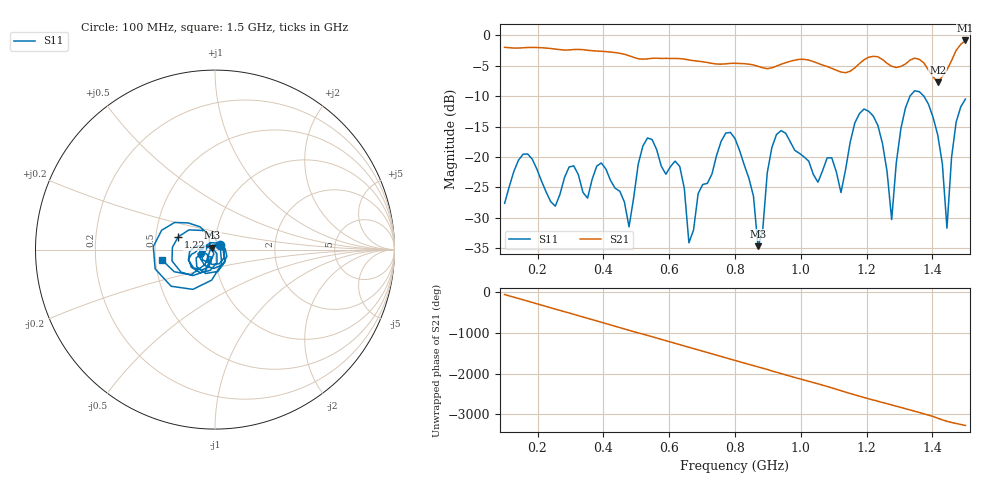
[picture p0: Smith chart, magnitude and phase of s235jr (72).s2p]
! NanoVNA-App
! Date: 2025-09-26 09:45:21
! Start: 100MHz Stop: 1,5GHz Points: 101
! S-Parameter data: F S11 S21 S12 S22
# Hz S RI R 50
!  Frequency  S11_Real  S11_Imag  S21_Real  S21_Imag  S12_Real  S12_Imag  S22_Real  S22_Imag
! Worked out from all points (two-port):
!   101 points, 100 MHz to 1.5 GHz, reference 50 ohm
!   highest |S21| = -0.83 dB at 1.5 GHz (marker M1); lowest = -7.7 dB at 1.416 GHz (marker M2)
!   |S21| within 3 dB of the highest: start of sweep to 505.2 MHz; 538.7 MHz to 633.8 MHz (95.11 MHz wide, 16.2 % of centre)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
!   lowest |S11| = -34.7 dB at 870 MHz (marker M3), VSWR 1.04, Z = 48.5 + j1 ohm
!   |S11| at or under -10 dB: start of sweep to 1.332 GHz; 1.374 GHz to end of sweep
!   S12 and S22 are empty: the file has one direction only
!   S11 on the Smith chart (normalised r, x): 100 MHz: 1.06, +0.06; 1.22 GHz: 0.65, +0.10; 1.5 GHz: 0.54, -0.07
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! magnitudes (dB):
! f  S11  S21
! 100 MHz  -27.6  -2.0
! 156 MHz  -19.6  -2.0
! 338 MHz  -25.8  -2.3
! 394 MHz  -21.0  -2.6
! 478 MHz  -31.5  -3.3
! 520 MHz  -18.2  -3.9
! 576 MHz  -21.5  -3.8
! 632 MHz  -21.6  -3.8
! 660 MHz  -34.1  -4.0
! 800 MHz  -17.0  -4.6
! 870 MHz  -34.7  -5.1
! 926 MHz  -16.3  -5.1
! 1.038 GHz  -22.9  -4.3
! 1.122 GHz  -25.9  -6.0
! 1.164 GHz  -14.4  -5.3
! 1.22 GHz  -13.3  -3.4
! 1.276 GHz  -30.3  -5.1
! 1.332 GHz  -9.9  -4.1
! 1.416 GHz  -16.4  -7.7
! 1.444 GHz  -31.7  -5.7
! 1.472 GHz  -14.2  -2.5
! 1.5 GHz  -10.5  -0.8
